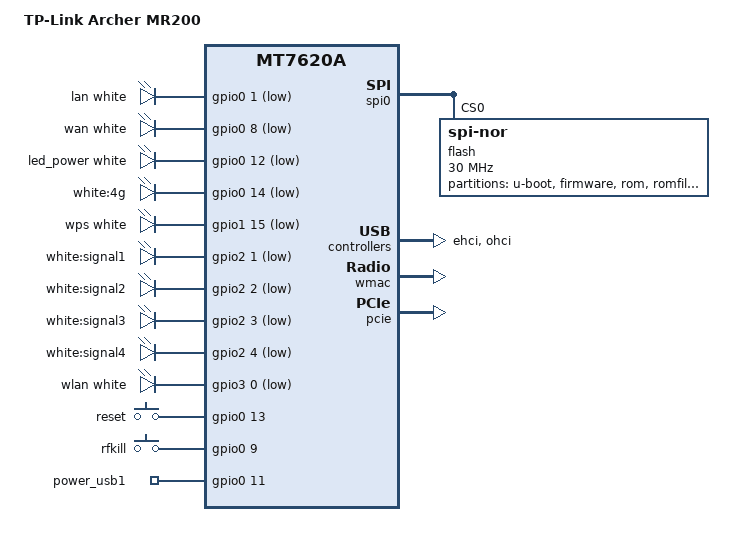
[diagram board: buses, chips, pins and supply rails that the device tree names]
#include "mt7620a.dtsi"

#include <dt-bindings/gpio/gpio.h>
#include <dt-bindings/input/input.h>
#include <dt-bindings/leds/common.h>

/ {
	compatible = "tplink,archer-mr200", "ralink,mt7620a-soc";
	model = "TP-Link Archer MR200";

	aliases {
		led-boot = &led_power;
		led-failsafe = &led_power;
		led-running = &led_power;
		led-upgrade = &led_power;
	};

	chosen {
		bootargs = "console=ttyS0,115200";
	};

	leds {
		compatible = "gpio-leds";

		lan {
			function = LED_FUNCTION_LAN;
			color = <LED_COLOR_ID_WHITE>;
			gpios = <&gpio0 1 GPIO_ACTIVE_LOW>;
		};

		wan {
			function = LED_FUNCTION_WAN;
			color = <LED_COLOR_ID_WHITE>;
			gpios = <&gpio0 8 GPIO_ACTIVE_LOW>;
		};

		led_power: power {
			function = LED_FUNCTION_POWER;
			color = <LED_COLOR_ID_WHITE>;
			gpios = <&gpio0 12 GPIO_ACTIVE_LOW>;
		};

		4g {
			label = "white:4g";
			gpios = <&gpio0 14 GPIO_ACTIVE_LOW>;
		};

		wps {
			function = LED_FUNCTION_WPS;
			color = <LED_COLOR_ID_WHITE>;
			gpios = <&gpio1 15 GPIO_ACTIVE_LOW>;
		};

		signal1 {
			label = "white:signal1";
			gpios = <&gpio2 1 GPIO_ACTIVE_LOW>;
		};

		signal2 {
			label = "white:signal2";
			gpios = <&gpio2 2 GPIO_ACTIVE_LOW>;
		};

		signal3 {
			label = "white:signal3";
			gpios = <&gpio2 3 GPIO_ACTIVE_LOW>;
		};

		signal4 {
			label = "white:signal4";
			gpios = <&gpio2 4 GPIO_ACTIVE_LOW>;
		};

		wlan {
			function = LED_FUNCTION_WLAN;
			color = <LED_COLOR_ID_WHITE>;
			gpios = <&gpio3 0 GPIO_ACTIVE_LOW>;
			linux,default-trigger = "phy1tpt";
		};
	};

	keys {
		compatible = "gpio-keys";

		reset {
			label = "reset";
			gpios = <&gpio0 13 GPIO_ACTIVE_HIGH>;
			linux,code = <KEY_RESTART>;
		};

		rfkill {
			label = "rfkill";
			gpios = <&gpio0 9 GPIO_ACTIVE_HIGH>;
			linux,code = <KEY_RFKILL>;
		};
	};

	gpio_export {
		compatible = "gpio-export";
		#size-cells = <0>;

		power_usb {
			gpio-export,name = "power_usb1";
			gpio-export,output = <1>;
			gpios = <&gpio0 11 GPIO_ACTIVE_HIGH>;
		};
	};
};

&gpio1 {
	status = "okay";
};

&gpio2 {
	status = "okay";
};

&gpio3 {
	status = "okay";
};

&spi0 {
	status = "okay";

	flash@0 {
		compatible = "jedec,spi-nor";
		reg = <0>;
		spi-max-frequency = <30000000>;

		partitions {
			compatible = "fixed-partitions";
			#address-cells = <1>;
			#size-cells = <1>;

			partition@0 {
				label = "u-boot";
				reg = <0x0 0x20000>;
				read-only;
			};

			partition@20000 {
				compatible = "tplink,firmware";
				label = "firmware";
				reg = <0x20000 0x7b0000>;
			};

			partition@7d0000 {
				label = "rom";
				reg = <0x7d0000 0x10000>;
				read-only;

				nvmem-layout {
					compatible = "fixed-layout";
					#address-cells = <1>;
					#size-cells = <1>;

					macaddr_rom_f100: macaddr@f100 {
						reg = <0xf100 0x6>;
					};
				};
			};

			partition@7e0000 {
				label = "romfile";
				reg = <0x7e0000 0x10000>;
				read-only;
			};

			partition@7f0000 {
				label = "radio";
				reg = <0x7f0000 0x10000>;
				read-only;

				nvmem-layout {
					compatible = "fixed-layout";
					#address-cells = <1>;
					#size-cells = <1>;

					eeprom_radio_0: eeprom@0 {
						reg = <0x0 0x200>;
					};

					eeprom_radio_8000: eeprom@8000 {
						reg = <0x8000 0x200>;
					};
				};
			};
		};
	};
};

&state_default {
	gpio {
		groups = "i2c", "uartf", "rgmii1", "rgmii2", "wled", "nd_sd", "ephy", "spi refclk";
		function = "gpio";
	};
};

&ethernet {
	nvmem-cells = <&macaddr_rom_f100>;
	nvmem-cell-names = "mac-address";
};

&ehci {
	status = "okay";
};

&ohci {
	status = "okay";
};

&wmac {
	nvmem-cells = <&eeprom_radio_0>;
	nvmem-cell-names = "eeprom";
};

&pcie {
	status = "okay";
};

&pcie0 {
	mt76@0,0 {
		reg = <0x0000 0 0 0 0>;
		nvmem-cells = <&eeprom_radio_8000>;
		nvmem-cell-names = "eeprom";
	};
};
